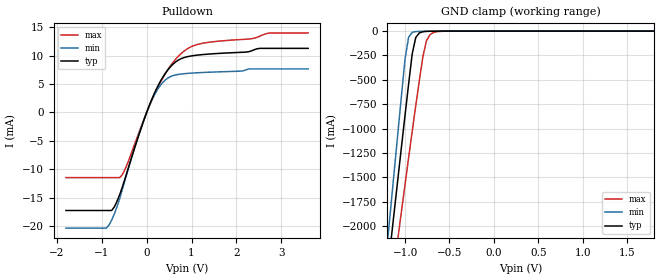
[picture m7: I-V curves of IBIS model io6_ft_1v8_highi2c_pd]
| [Disclaimer]  This information is for modeling purpose only and is
| not guaranted. The information is subject to change without
| notice.
| From stm32g0B0_0B1_0C1_lqfp32gp.ibs, stm32g0_467_lqfp32gp, STMicroelectronics
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|   Model io6_ft_1v8_highi2c_pd
[Model]  io6_ft_1v8_highi2c_pd
Model_type I/O_open_drain
Polarity   Non-Inverting
Enable   Active-Low
Vinl =   0.540000V
Vinh =   1.260000V
Vmeas =  0.90000V
Cref =   50.000000pF
Rref =   500
Vref =   3.0V
C_comp   1.277600pF   1.236700pF   1.315100pF
[Temperature Range]   25.000000   -40.000000   0.125000k
[Pullup Reference]   1.800000V   1.600000V   2.000000V
[Pulldown Reference]   0.0V   0.0V   0.0V
[POWER Clamp Reference]   1.800000V   1.600000V   2.000000V
[GND Clamp Reference]   0.0V   0.0V   0.0V
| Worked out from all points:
|   slope of the pulldown table from 0 to 0.27 V, typ, clamps not added: 54.7 ohm
|   GND clamp passes 1 mA (typ) near -0.66 V on its own axis
[Pulldown]
|Voltage   I(typ)   I(min)   I(max)
-1.8V     -17.22mA   -20.33mA   -11.45mA
-900mV    -17.22mA   -20.33mA   -11.45mA
-720mV    -16.58mA   -17.82mA   -11.45mA
-600mV    -14.41mA   -15.08mA   -11.45mA
-480mV    -11.58mA   -11.79mA   -9.954mA
0V        10fA       0A         100fA
240mV     4.49mA     3.999mA    4.291mA
480mV     7.563mA    6.085mA    7.612mA
780mV     9.487mA    6.76mA     10.43mA
1.14V     10.08mA    6.976mA    11.96mA
2.76V     11.26mA    7.652mA    13.98mA
3.6V      11.26mA    7.652mA    13.98mA
[GND_clamp]
|Voltage   I(typ)   I(min)   I(max)
-1.8V     -7.471A    -7.973A    -7.298A
-1.2V     -2.489A    -2.18A     -2.954A
-1.16V    -2.16A     -1.797A    -2.674A
-1.08V    -1.505A    -1.034A    -2.118A
-1V       -858mA     -283.1mA   -1.568A
-960mV    -540.4mA   -62.15mA   -1.296A
-920mV    -234.4mA   -13.76mA   -1.028A
-880mV    -66.3mA    -4.868mA   -765.3mA
-800mV    -6.518mA   -2.068mA   -266mA
-760mV    -3.087mA   -1.462mA   -100.4mA
-680mV    -1.228mA   -569.1uA   -14.21mA
1.8V      47.47uA    34.04uA    59.57uA
[POWER_clamp]
|Voltage   I(typ)   I(min)   I(max)
-1.8V     0A         0A         0A
0V        0A         0A         0A
[Ramp]
| variable   typ   min   max
dV/dt_r  0.305/1.74885n   0.210/1.41505n   0.369/1.86730n
dV/dt_f  0.30096/1.46389n   0.210/1.35405n   0.36720/1.46921n
R_load = 50.000000
